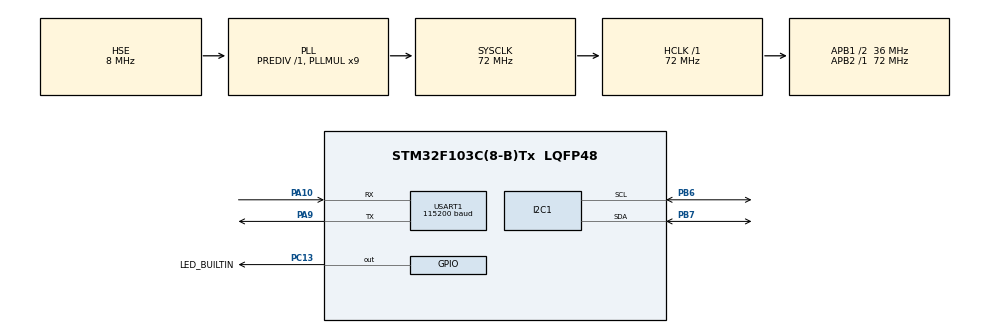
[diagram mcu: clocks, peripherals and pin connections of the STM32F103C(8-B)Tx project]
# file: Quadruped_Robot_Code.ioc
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Mcu.Family=STM32F1
Mcu.Name=STM32F103C(8-B)Tx
Mcu.Package=LQFP48
NVIC.PriorityGroup=NVIC_PRIORITYGROUP_4
NVIC.USART1_IRQn=true\:0\:0\:false\:false\:true\:true\:true\:true
PA10.Mode=Asynchronous
PA10.Signal=USART1_RX
PA13.Mode=Serial_Wire
PA13.Signal=SYS_JTMS-SWDIO
PA14.Mode=Serial_Wire
PA14.Signal=SYS_JTCK-SWCLK
PA9.Mode=Asynchronous
PA9.Signal=USART1_TX
PB6.Mode=I2C
PB6.Signal=I2C1_SCL
PB7.Mode=I2C
PB7.Signal=I2C1_SDA
PC13-TAMPER-RTC.GPIO_Label=LED_BUILTIN
PC13-TAMPER-RTC.Signal=GPIO_Output
PC14-OSC32_IN.Mode=LSE-External-Oscillator
PC14-OSC32_IN.Signal=RCC_OSC32_IN
PC15-OSC32_OUT.Mode=LSE-External-Oscillator
PC15-OSC32_OUT.Signal=RCC_OSC32_OUT
PD0-OSC_IN.Mode=HSE-External-Oscillator
PD0-OSC_IN.Signal=RCC_OSC_IN
PD1-OSC_OUT.Mode=HSE-External-Oscillator
PD1-OSC_OUT.Signal=RCC_OSC_OUT
ProjectManager.HeapSize=0x200
ProjectManager.StackSize=0x400
ProjectManager.TargetToolchain=STM32CubeIDE
RCC.AHBFreq_Value=72000000
RCC.APB1CLKDivider=RCC_HCLK_DIV2
RCC.APB1Freq_Value=36000000
RCC.APB1TimFreq_Value=72000000
RCC.APB2Freq_Value=72000000
RCC.APB2TimFreq_Value=72000000
RCC.HCLKFreq_Value=72000000
RCC.PLLMUL=RCC_PLL_MUL9
RCC.PLLSourceVirtual=RCC_PLLSOURCE_HSE
RCC.SYSCLKFreq_VALUE=72000000
RCC.SYSCLKSource=RCC_SYSCLKSOURCE_PLLCLK
RCC.USBFreq_Value=72000000
USART1.BaudRate=115200
USART1.VirtualMode=VM_ASYNC
board=custom

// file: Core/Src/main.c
/* USER CODE BEGIN Header */
/**
  ******************************************************************************
  * @file           : main.c
  * @brief          : Main program body
  ******************************************************************************
  * @attention
  *
  * Copyright (c) 2024 STMicroelectronics.
  * All rights reserved.
  *
  * This software is licensed under terms that can be found in the LICENSE file
  * in the root directory of this software component.
  * If no LICENSE file comes with this software, it is provided AS-IS.
  *
  ******************************************************************************
  */
/* USER CODE END Header */
#include "main.h"

/* USER CODE BEGIN Includes */
#include <stdio.h>
#include <math.h>
#include <stdlib.h>
#include <string.h>
#include "pca9685.h"
#include "MPU6050.h"
#include "Robot.h"
//#include "Common_Functions.h"
/* USER CODE END Includes */

/* USER CODE BEGIN PTD */
typedef struct {
  char* command;
  int radius;
  int length;
  int interPoints;
  int softDelay;
} UARTData;

/* USER CODE END PTD */

/* USER CODE BEGIN PD */

void HAL_UART_RxCpltCallback(UART_HandleTypeDef *huart);
#define TRUE  1
#define FALSE 0
#define PI 3.14
#define MIN(X, Y) (((X) < (Y)) ? (X) : (Y))
#define MAX(X, Y) (((X) > (Y)) ? (X) : (Y))
#define rx_data_Size 13
#define UART_DELAY 10 //in ms
#define Selfsoftdelay 50 // in ms
#define SelfInterpoints 40
#define neutralPosLength 15 // in cm
#define sitDownLength 15 // in cm

// Struct holding information of UART Data Received

/* USER CODE END PD */

I2C_HandleTypeDef hi2c1;

UART_HandleTypeDef huart1;

/* USER CODE BEGIN PV */
UARTData uartData;

uint8_t rx_data[rx_data_Size];
bool DataReceaved = FALSE;
bool runOnceFlag = FALSE;
bool calibrateFlag = FALSE;
bool neutralFlag = FALSE;
char * delimeter = ",";
uint8_t initialHeight = 15;
double t1[128];
double t2[128];

double th1[40] = {113.1953,114.5020,115.7947,117.0730,118.3369,119.5862,120.8205,122.0396,123.2431,124.4306,125.6017,126.7560,127.8929,129.0121,130.1129,131.1948,132.2574,133.3000,134.3221,135.3232,136.3026,137.2597,138.1941,139.1052,139.9923,140.8549,141.6925,142.5045,143.2903,144.0496,144.7816,145.4860,146.1622,146.8098,147.4281,148.0168,148.5754,149.1033,149.6001,150.0652};

double th2[40] = {104.1674,103.4252,102.7242,102.0640,101.4441,100.8641,100.3238,99.8230,99.3613,98.9387,98.5549,98.2098,97.9033,97.6353,97.4057,97.2145,97.0616,96.9469,96.8705,96.8323,96.8323,96.8705,96.9469,97.0616,97.2145,97.4057,97.6353,97.9033,98.2098,98.5549,98.9387,99.3613,99.8230,100.3238,100.8641,101.4441,102.0640,102.7242,103.4252,104.1674};

double ts1[40] = {113.1953,120.0954,123.4125,126.1872,128.7008,131.0592,133.3146,135.4960,137.6205,139.6980,141.7337,143.7297,145.6859,147.5999,149.4683,151.2863,153.0483,154.7477,156.3777,157.9309,159.3997,160.7764,162.0532,163.2225,164.2765,165.2074,166.0076,166.6688,167.1825,167.5388,167.7267,167.7322,167.5374,167.1182,166.4394,165.4470,164.0491,162.0658,159.0311,150.0652};

double ts2[40] = {104.1674,90.3440,84.9274,80.9240,77.6719,74.9164,72.5285,70.4329,68.5818,66.9427,65.4932,64.2171,63.1026,62.1411,61.3260,60.6526,60.1174,59.7180,59.4526,59.3201,59.3201,59.4526,59.7180,60.1174,60.6526,61.3260,62.1411,63.1026,64.2171,65.4932,66.9427,68.5818,70.4329,72.5285,74.9164,77.6719,80.9240,84.9274,90.3440,104.1674};
/* USER CODE END PV */

void SystemClock_Config(void);
static void MX_GPIO_Init(void);
static void MX_I2C1_Init(void);
static void MX_USART1_UART_Init(void);

/* USER CODE BEGIN 0 */
#ifdef __GNUC__
#define PUTCHAR_PROTOTYPE int __io_putchar(int ch)
#else
#define PUTCHAR_PROTOTYPE int fputc(int ch, FILE *f)
#endif

PUTCHAR_PROTOTYPE
{
  HAL_UART_Transmit(&huart1, (uint8_t *)&ch, 1, HAL_MAX_DELAY);
  return ch;
}

double sind(double x){return sin(x * M_PI / 180);}

double asind(double x){return asin(x) / M_PI * 180;}

double cosd(double x){return cos(x * M_PI / 180);}

double acosd(double x){return acos(x) / M_PI * 180;}

double tand(double x){return tan(x * M_PI / 180);}

double atand(double x){return atan(x) / M_PI * 180;}

void DisplayInitialMsg()
{
  HAL_UART_Transmit(&huart1, (uint8_t *)"------------------------------------\r\n", 38, UART_DELAY);
  HAL_UART_Transmit(&huart1, (uint8_t *)"INITILIZING QUADRUPED ROBOT\r\n", 29, UART_DELAY);
  HAL_UART_Transmit(&huart1, (uint8_t *)"PROJECT BY\r\n", 12, UART_DELAY);
  HAL_UART_Transmit(&huart1, (uint8_t *)"MOUNITH H          -- 1RV23EC406\r\n", 34, UART_DELAY); // Mounith H -- 1RV23EC406
  HAL_UART_Transmit(&huart1, (uint8_t *)"JEEVOTTAM HEBLE    -- 1RV22EC072\r\n", 34, UART_DELAY); // Jeevottam Heble, 1RV22EC072
  HAL_UART_Transmit(&huart1, (uint8_t *)"KUSHAL P KOUNDINYA -- 1RV22EC083\r\n", 34, UART_DELAY); // Kushal P Koundinya -- 1RV22EC083
  HAL_UART_Transmit(&huart1, (uint8_t *)"------------------------------------\r\n\n\n", 40, UART_DELAY);
}

void parseUARTMessage(char* message, char* token)
{
  char* _token = strtok(message, token);
  uartData.command = _token; // Assign the value to the command member of uartData

  for(int i = 1; i <= 4; i++)
  {
    _token = strtok(NULL, token);
    if(_token == NULL) break;
    if(i == 1) uartData.length = atoi(_token);
    else if(i == 2) uartData.interPoints = atoi(_token);
  }
}

double* linspace(double a, double b, int n, double u[])
{
  double c;
  int i;
  if(n < 2 || u == 0) return (void*)0;
  c = (b - a)/(n - 1);
  for(i = 0; i < n - 1; ++i) u[i] = a + i*c;
  u[n - 1] = b;
  return u;
}

void IK_Move_interPoints(uint8_t radiusofcircle, uint8_t xCoordinateCenterSemicircle, uint8_t  yCoordinateCenterSemicircle, uint8_t interPoints, double _t1[], double _t2[])
{
  double x[40];
  double y[40];
  linspace(xCoordinateCenterSemicircle-radiusofcircle, xCoordinateCenterSemicircle+radiusofcircle, interPoints, x);
  for(int i = 0; i < interPoints; i++)
  {
    y[i] = (yCoordinateCenterSemicircle -  pow(pow(radiusofcircle,2)-pow((x[i] + xCoordinateCenterSemicircle),2),0.5));
    _t1[i] = asind((pow(x[i],2) + pow(y[i],2) + pow(upperLegLength,2) - pow(lowerLegLength,2))/(2*upperLegLength*pow(pow(x[i],2) + pow(y[i],2),0.5))) - atand(x[i]/y[i]);
    _t2[i] = acosd(((x[i] - upperLegLength*cosd(_t1[i]))/lowerLegLength)) - _t1[i];
    _t1[i] = 180 - _t1[i];
    _t2[i] = 180 - _t2[i];
  }
}

void IK_UpDown_interPoints(uint8_t finalHeight,  uint8_t interPoints, double _t1[], double _t2[])
{
  double x[100];

  linspace(finalHeight, initialHeight, interPoints, x);
  for(int i = interPoints-1; i >= 0 ; i--)
  {
    _t1[i] = acosd((pow(upperLegLength,2) + pow(x[i],2) - pow(lowerLegLength,2))/(2*upperLegLength*x[i]));
    _t2[i] = acosd((pow(upperLegLength,2) + pow(lowerLegLength,2) - pow(x[i],2))/(2*upperLegLength*lowerLegLength));
    _t1[i] = 180 - _t1[i];
    _t2[i] = 180 - _t2[i];
  }
  initialHeight = finalHeight;
}

void IMU_Calibration()
{
  HAL_UART_Transmit(&huart1, (uint8_t *)"CALIBRATING IMU... \r\n", 20, UART_DELAY);
  HAL_GPIO_TogglePin(LED_BUILTIN_GPIO_Port, LED_BUILTIN_Pin);
  MPU_calibrateGyro(&hi2c1, 1500);
  HAL_UART_Transmit(&huart1, (uint8_t *)"CALIBRATION COMPLETE \r\n", 23, UART_DELAY);
}

void softPool(double _t1[], double _t2[], int softPoolDelay)
{
  for (int i=uartData.interPoints; i>=0; i--)
  {
    PCA9685_SetServoAngle(ServoFRT1, 180-_t1[i]); //front right
    PCA9685_SetServoAngle(ServoFRB2, 180-_t2[i]); //front right
    PCA9685_SetServoAngle(ServoFLT1, _t1[i]); //front left
    PCA9685_SetServoAngle(ServoFLB2, _t2[i]); //front left

    PCA9685_SetServoAngle(ServoBLT1, _t1[i]); //back left
    PCA9685_SetServoAngle(ServoBLB2, _t2[i]); //back left
    PCA9685_SetServoAngle(ServoBRT1, 180-_t1[i]); //back right
    PCA9685_SetServoAngle(ServoBRB2, 180-_t2[i]); //back right
    HAL_Delay(softPoolDelay);
  }
}

void robotHeightPos(double _t1[],  double _t2[], int softPoolDelay)
{
  HAL_UART_Transmit(&huart1, (uint8_t *)"Moving robot to Specified height position...\r\n", 46, UART_DELAY);
  for(int i = 0; i < uartData.interPoints; i++)
  {

    PCA9685_SetServoAngle(ServoFRT1, (180-t1[i])+5); //front right
    PCA9685_SetServoAngle(ServoFRB2, (180-t2[i])); //front right
    PCA9685_SetServoAngle(ServoFLT1, (t1[i])+5); //front left
    PCA9685_SetServoAngle(ServoFLB2, (t2[i])+5); //front left

    PCA9685_SetServoAngle(ServoBLT1, t1[i]); //back left
    PCA9685_SetServoAngle(ServoBLB2, t2[i]); //back left
    PCA9685_SetServoAngle(ServoBRT1, 180-t1[i]); //back right
    PCA9685_SetServoAngle(ServoBRB2, 180-t2[i]); //back right
    HAL_Delay(softPoolDelay);
  }
  HAL_UART_Transmit(&huart1, (uint8_t *)"Robot is now on Specified height position\r\n", 42, UART_DELAY);
}

void robotSitDown(double _t1[],  double _t2[], int softPoolDelay)
{
  HAL_UART_Transmit(&huart1, (uint8_t *)"Sitting down robot...\r\n", 23, UART_DELAY);
  for(int i = 0; i < uartData.interPoints; i++)
  {
    PCA9685_SetServoAngle(ServoFRT1, 180-_t1[i]); //front right
    PCA9685_SetServoAngle(ServoFRB2, 180-_t2[i]); //front right
    PCA9685_SetServoAngle(ServoFLT1, _t1[i]); //front left
    PCA9685_SetServoAngle(ServoFLB2, _t2[i]); //front left

    PCA9685_SetServoAngle(ServoBLT1, _t1[i]); //back left
    PCA9685_SetServoAngle(ServoBLB2, _t2[i]); //back left
    PCA9685_SetServoAngle(ServoBRT1, 180-_t1[i]); //back right
    PCA9685_SetServoAngle(ServoBRB2, 180-_t2[i]); //back right
    HAL_Delay(softPoolDelay);
  }
  HAL_UART_Transmit(&huart1, (uint8_t *)"Robot is now on Sitting Position\r\n", 34, UART_DELAY);

}

void robotNeutralPos(double _t1[],  double _t2[], int softPoolDelay)
{
  HAL_UART_Transmit(&huart1, (uint8_t *)"Moving robot to neutral position...\r\n", 36, UART_DELAY);
  for(int i = 0; i < uartData.interPoints; i++)
  {
    PCA9685_SetServoAngle(ServoFRT1, (180-t1[i])+5); //front right
    PCA9685_SetServoAngle(ServoFRB2, (180-t2[i])); //front right
    PCA9685_SetServoAngle(ServoFLT1, (t1[i])+5); //front left
    PCA9685_SetServoAngle(ServoFLB2, (t2[i])+5); //front left

    PCA9685_SetServoAngle(ServoBLT1, t1[i]); //back left
    PCA9685_SetServoAngle(ServoBLB2, t2[i]); //back left
    PCA9685_SetServoAngle(ServoBRT1, 180-t1[i]); //back right
    PCA9685_SetServoAngle(ServoBRB2, 180-t2[i]); //back right
    HAL_Delay(softPoolDelay);
  }
  HAL_UART_Transmit(&huart1, (uint8_t *)"Robot is now in neutral position\r\n", 34, UART_DELAY);
}
/* USER CODE END 0 */

int main(void)
{

  /* MCU Configuration--------------------------------------------------------*/

  /* Reset of all peripherals, Initializes the Flash interface and the Systick. */
  HAL_Init();

  /* Configure the system clock */
  SystemClock_Config();

  /* Initialize all configured peripherals */
  MX_GPIO_Init();
  MX_I2C1_Init();
  MX_USART1_UART_Init();
  /* USER CODE BEGIN 2 */

  HAL_UART_Receive_IT(&huart1, rx_data, rx_data_Size);
  DisplayInitialMsg();
  PCA9685_Init(&hi2c1);
  robot_init();
  HAL_GPIO_WritePin(LED_BUILTIN_GPIO_Port, LED_BUILTIN_Pin, GPIO_PIN_RESET);
	HAL_Delay(1000);

  // Check if IMU configured properly and block if it didn't
  HAL_UART_Transmit(&huart1, (uint8_t *)"INITIALIZING IMU.........", 24, UART_DELAY);
  if(MPU_begin(&hi2c1, AD0_LOW, AFSR_4G, GFSR_500DPS, 0.98, 0.004) == TRUE)
  {
    HAL_GPIO_WritePin(LED_BUILTIN_GPIO_Port, LED_BUILTIN_Pin, 1);
    HAL_UART_Transmit(&huart1, (uint8_t *)"IMU INITIALIZED\r\n", 17, UART_DELAY);
  }
  else
  {
    HAL_UART_Transmit(&huart1, (uint8_t *)"ERROR!! -- IMU not Initialized\r\n", 33, UART_DELAY);
    while (1)
    {
      HAL_GPIO_TogglePin(LED_BUILTIN_GPIO_Port, LED_BUILTIN_Pin);
      HAL_Delay(250);
    }
  }
  HAL_UART_Transmit(&huart1, (uint8_t *)"WAITING FOR SERIAL COMMANDS..\r\n", 31, UART_DELAY);
  HAL_Delay(1000);
  /* USER CODE END 2 */

  /* Infinite loop */
  /* USER CODE BEGIN WHILE */
  while (1)
  {
    if(DataReceaved)
    {
      DataReceaved = FALSE;
      parseUARTMessage(rx_data, delimeter);
      HAL_UART_Receive_IT(&huart1, rx_data, rx_data_Size);
      switch (*uartData.command)
      {
        case 'c': // Calibrate the IMU
        calibrateFlag = FALSE;
        runOnceFlag = TRUE;
        break;

        case 'h': // robot to height position
        IK_UpDown_interPoints(uartData.length, uartData.interPoints, t1, t2);
        calibrateFlag = FALSE;
        neutralFlag = FALSE;
        runOnceFlag = TRUE;
        break;

        case 'n': // move robot to neutral position
        uartData.interPoints = 50;
        IK_UpDown_interPoints(20, 50, t1, t2);
        neutralFlag = FALSE;
        runOnceFlag = TRUE;
        break;

        case 's': // sit down robot
        runOnceFlag = TRUE;
        break;

        case 'm': // move gait
        break;

        case 'b': // balance robot
        break;

        case 'u': // situp robot
        initialHeight = 10;
        uartData.interPoints = 50;
        break;

        case 'f': // Standing robot
        runOnceFlag = TRUE;
        break;

        default:
        break;
      }
    }

    if(!DataReceaved)
    {
      switch (*uartData.command)
      {
        case 'c': // Calibrate the IMU
        if(runOnceFlag)
        {
          IMU_Calibration();
          calibrateFlag = TRUE;
          runOnceFlag = FALSE;
        }
        break;

        case 'h': // robot to height position
        if(runOnceFlag)
        {
          robotHeightPos(t1, t2, Selfsoftdelay);
          runOnceFlag = FALSE;
        }
        break;

        case 'n': // move robot to neutral position
        if(runOnceFlag)
        {
          robotHeightPos(t1, t2, Selfsoftdelay);
          neutralFlag = TRUE;
          runOnceFlag = FALSE;
        }
        break;

        case 'f': // move robot to Standing position
        if(runOnceFlag)
        {
          PCA9685_SetServoAngle(ServoFRT1, (90+5)); //front right
          PCA9685_SetServoAngle(ServoFRB2, (0)); //front right
          PCA9685_SetServoAngle(ServoFLT1, (90)+10); //front left
          PCA9685_SetServoAngle(ServoFLB2, (180)+5); //front left

          PCA9685_SetServoAngle(ServoBLT1, 90); //back left
          PCA9685_SetServoAngle(ServoBLB2, 180); //back left
          PCA9685_SetServoAngle(ServoBRT1, 90-10); //back right
          PCA9685_SetServoAngle(ServoBRB2, 0); //back right
          HAL_Delay(50);
          runOnceFlag = FALSE;
        }
        break;

        case 's': // sit down robot
        if(runOnceFlag)
        {
          PCA9685_SetServoAngle(ServoFRT1, (90+5)); //front right
          PCA9685_SetServoAngle(ServoFRB2, (90)); //front right
          PCA9685_SetServoAngle(ServoFLT1, (90)+5); //front left
          PCA9685_SetServoAngle(ServoFLB2, (90)+5); //front left

          PCA9685_SetServoAngle(ServoBLT1, 90); //back left
          PCA9685_SetServoAngle(ServoBLB2, 90); //back left
          PCA9685_SetServoAngle(ServoBRT1, 90); //back right
          PCA9685_SetServoAngle(ServoBRB2, 90-5); //back right
          HAL_Delay(50);
          runOnceFlag = FALSE;
        }
        break;

        case 'u': // sit up robot
        IK_UpDown_interPoints(22, 50, t1, t2);
        robotHeightPos(t1, t2, Selfsoftdelay);
        IK_UpDown_interPoints(10, 50, t1, t2);
        robotHeightPos(t1, t2, Selfsoftdelay);

        break;

        case 'm': // move gait
        for(int i = 39; i >= 0; i--)
        {
          PCA9685_SetServoAngle(ServoFRT1, (180-ts1[i])+5); //front right
          PCA9685_SetServoAngle(ServoFRB2, (180-ts2[i])); //front right
          PCA9685_SetServoAngle(ServoFLT1, (th1[39-i])+5); //front left
          PCA9685_SetServoAngle(ServoFLB2, (th2[39-i])+5); //front left

          PCA9685_SetServoAngle(ServoBLT1, ts1[i]); //back left
          PCA9685_SetServoAngle(ServoBLB2, ts2[i]); //back left
          PCA9685_SetServoAngle(ServoBRT1, 180-th1[39-i]); //back right
          PCA9685_SetServoAngle(ServoBRB2, 180-th2[39-i]); //back right
          HAL_Delay(50);
        }

        for(int i = 0; i < 39; i++)
        {
          PCA9685_SetServoAngle(ServoFRT1, (180-th1[i])+5); //front right
          PCA9685_SetServoAngle(ServoFRB2, (180-th2[i])); //front right
          PCA9685_SetServoAngle(ServoFLT1, (ts1[39-i])+5); //front left
          PCA9685_SetServoAngle(ServoFLB2, (ts2[39-i])+5); //front left

          PCA9685_SetServoAngle(ServoBLT1, th1[i]); //back left
          PCA9685_SetServoAngle(ServoBLB2, th2[i]); //back left
          PCA9685_SetServoAngle(ServoBRT1, 180-ts1[39-i]); //back right
          PCA9685_SetServoAngle(ServoBRB2, 180-ts2[39-i]); //back right
          HAL_Delay(50);
        }

        break;

        case 'b': // balance robot
        if(neutralFlag)
        {
          if(calibrateFlag)
          {
            // MPU_readProcessedData(&hi2c1);
            MPU_readProcessedDataLPF(&hi2c1);
            robot_balance();
          }
          else
          {
            HAL_UART_Transmit(&huart1, (uint8_t *)"ERROR!! -- IMU not Calibrated\r\n", 33, UART_DELAY);
            HAL_UART_Transmit(&huart1, (uint8_t *)"Resolving ERROR........\r\n", 27, UART_DELAY);
            IMU_Calibration();
            HAL_UART_Transmit(&huart1, (uint8_t *)"ERROR Resolved -- Balancing Robot\r\n", 33, UART_DELAY);
            calibrateFlag = TRUE;
          }
        }
        else
        {
          HAL_UART_Transmit(&huart1, (uint8_t *)"ERROR!! -- Robot not in neutral position\r\n", 42, UART_DELAY);
          HAL_UART_Transmit(&huart1, (uint8_t *)"ERROR!! -- IMU not Calibrated\r\n", 31, UART_DELAY);
          HAL_UART_Transmit(&huart1, (uint8_t *)"Resolving ERROR........\r\n", 25, UART_DELAY);
          IK_UpDown_interPoints(neutralPosLength, SelfInterpoints, t1, t2);
          robotNeutralPos(t1, t2, Selfsoftdelay);
          IMU_Calibration();
          HAL_UART_Transmit(&huart1, (uint8_t *)"ERROR Resolved -- Balancing Robot\r\n", 34, UART_DELAY);
          neutralFlag = TRUE;
          calibrateFlag = TRUE;
        }
        break;

        default:
        break;
      }
    }
    /* USER CODE END WHILE */

  }
}

void SystemClock_Config(void)
{
  RCC_OscInitTypeDef RCC_OscInitStruct = {0};
  RCC_ClkInitTypeDef RCC_ClkInitStruct = {0};

  /** Initializes the RCC Oscillators according to the specified parameters
  * in the RCC_OscInitTypeDef structure.
  */
  RCC_OscInitStruct.OscillatorType = RCC_OSCILLATORTYPE_HSE;
  RCC_OscInitStruct.HSEState = RCC_HSE_ON;
  RCC_OscInitStruct.HSEPredivValue = RCC_HSE_PREDIV_DIV1;
  RCC_OscInitStruct.HSIState = RCC_HSI_ON;
  RCC_OscInitStruct.PLL.PLLState = RCC_PLL_ON;
  RCC_OscInitStruct.PLL.PLLSource = RCC_PLLSOURCE_HSE;
  RCC_OscInitStruct.PLL.PLLMUL = RCC_PLL_MUL9;
  if (HAL_RCC_OscConfig(&RCC_OscInitStruct) != HAL_OK)
  {
    Error_Handler();
  }

  /** Initializes the CPU, AHB and APB buses clocks
  */
  RCC_ClkInitStruct.ClockType = RCC_CLOCKTYPE_HCLK|RCC_CLOCKTYPE_SYSCLK
                              |RCC_CLOCKTYPE_PCLK1|RCC_CLOCKTYPE_PCLK2;
  RCC_ClkInitStruct.SYSCLKSource = RCC_SYSCLKSOURCE_PLLCLK;
  RCC_ClkInitStruct.AHBCLKDivider = RCC_SYSCLK_DIV1;
  RCC_ClkInitStruct.APB1CLKDivider = RCC_HCLK_DIV2;
  RCC_ClkInitStruct.APB2CLKDivider = RCC_HCLK_DIV1;

  if (HAL_RCC_ClockConfig(&RCC_ClkInitStruct, FLASH_LATENCY_2) != HAL_OK)
  {
    Error_Handler();
  }
}

static void MX_I2C1_Init(void)
{

  hi2c1.Instance = I2C1;
  hi2c1.Init.ClockSpeed = 100000;
  hi2c1.Init.DutyCycle = I2C_DUTYCYCLE_2;
  hi2c1.Init.OwnAddress1 = 0;
  hi2c1.Init.AddressingMode = I2C_ADDRESSINGMODE_7BIT;
  hi2c1.Init.DualAddressMode = I2C_DUALADDRESS_DISABLE;
  hi2c1.Init.OwnAddress2 = 0;
  hi2c1.Init.GeneralCallMode = I2C_GENERALCALL_DISABLE;
  hi2c1.Init.NoStretchMode = I2C_NOSTRETCH_DISABLE;
  if (HAL_I2C_Init(&hi2c1) != HAL_OK)
  {
    Error_Handler();
  }

}

static void MX_USART1_UART_Init(void)
{

  huart1.Instance = USART1;
  huart1.Init.BaudRate = 115200;
  huart1.Init.WordLength = UART_WORDLENGTH_8B;
  huart1.Init.StopBits = UART_STOPBITS_1;
  huart1.Init.Parity = UART_PARITY_NONE;
  huart1.Init.Mode = UART_MODE_TX_RX;
  huart1.Init.HwFlowCtl = UART_HWCONTROL_NONE;
  huart1.Init.OverSampling = UART_OVERSAMPLING_16;
  if (HAL_UART_Init(&huart1) != HAL_OK)
  {
    Error_Handler();
  }

}

static void MX_GPIO_Init(void)
{
  GPIO_InitTypeDef GPIO_InitStruct = {0};

  /* GPIO Ports Clock Enable */
  __HAL_RCC_GPIOC_CLK_ENABLE();
  __HAL_RCC_GPIOD_CLK_ENABLE();
  __HAL_RCC_GPIOA_CLK_ENABLE();
  __HAL_RCC_GPIOB_CLK_ENABLE();

  /*Configure GPIO pin Output Level */
  HAL_GPIO_WritePin(LED_BUILTIN_GPIO_Port, LED_BUILTIN_Pin, GPIO_PIN_RESET);

  /*Configure GPIO pin : LED_BUILTIN_Pin */
  GPIO_InitStruct.Pin = LED_BUILTIN_Pin;
  GPIO_InitStruct.Mode = GPIO_MODE_OUTPUT_PP;
  GPIO_InitStruct.Pull = GPIO_NOPULL;
  GPIO_InitStruct.Speed = GPIO_SPEED_FREQ_LOW;
  HAL_GPIO_Init(LED_BUILTIN_GPIO_Port, &GPIO_InitStruct);

}

/* USER CODE BEGIN 4 */
void HAL_UART_RxCpltCallback(UART_HandleTypeDef *huart)
{
  UNUSED(huart);
  DataReceaved = TRUE;
}

/* USER CODE END 4 */

void Error_Handler(void)
{
  __disable_irq();
  while (1)
  {
  }
}
